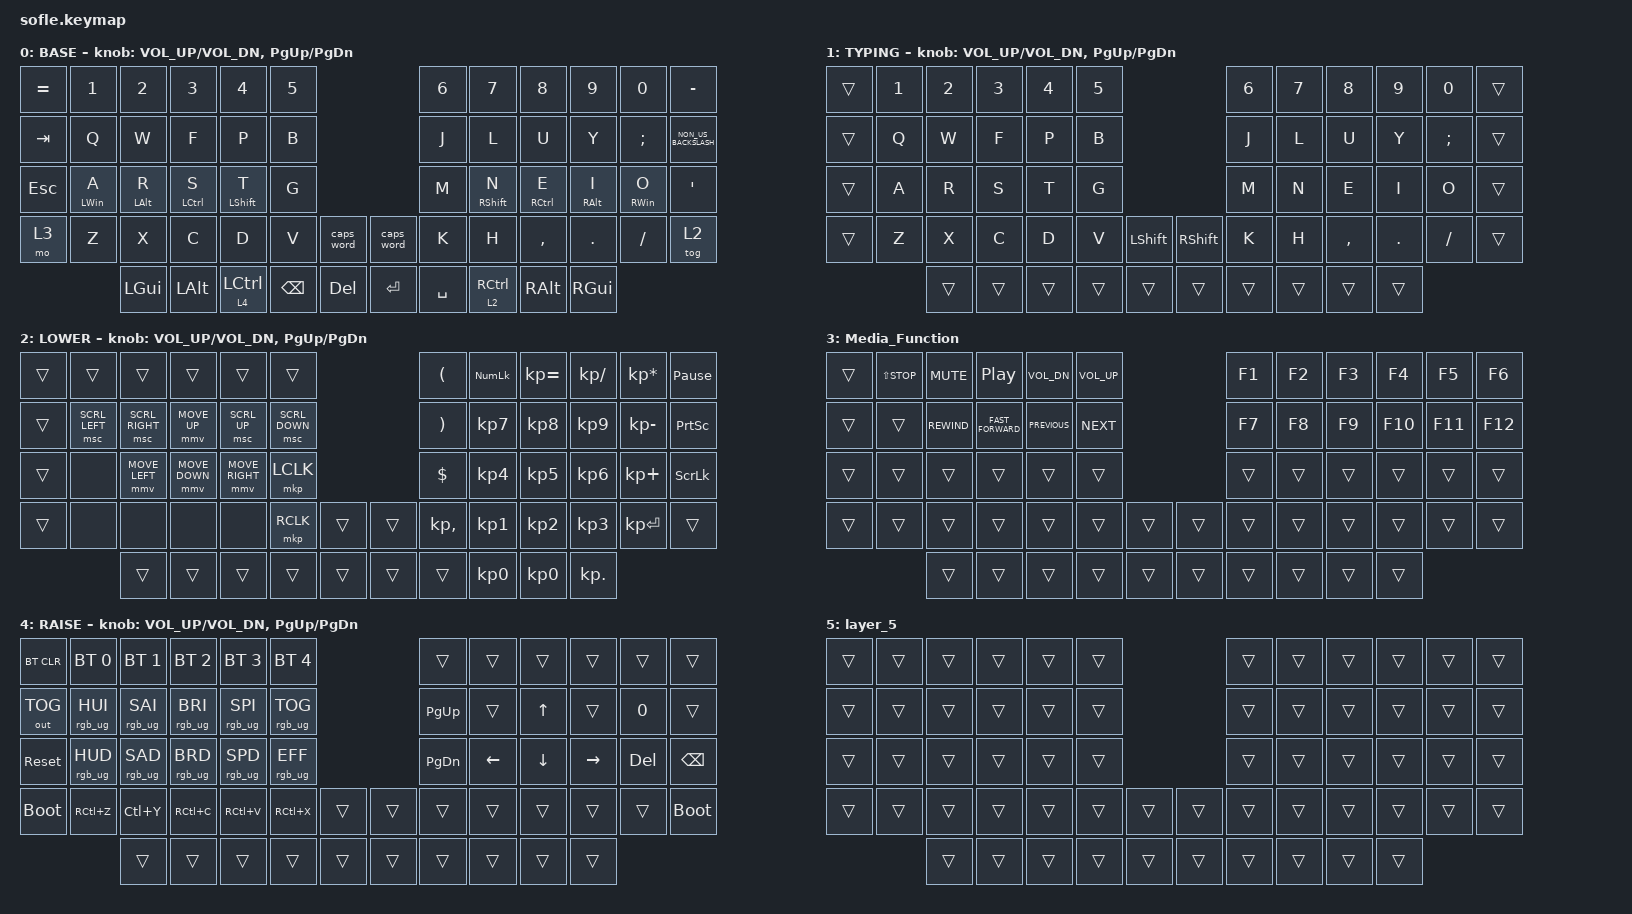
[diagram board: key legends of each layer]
/*
 * Copyright (c) 2020 The ZMK Contributors
 *
 * SPDX-License-Identifier: MIT
 */

#include <input/processors.dtsi>
#include <behaviors.dtsi>
#include <dt-bindings/zmk/bt.h>
#include <dt-bindings/zmk/keys.h>
#include <dt-bindings/zmk/outputs.h>
#include <dt-bindings/zmk/pointing.h>
#include <dt-bindings/zmk/rgb.h>

#define BASE 0
#define LOWER 2
#define RAISE 3
#define ADJUST 4
#define TYPING 1

&mt {
    bindings = <&kp>, <&kp>;

    tapping-term-ms = <220>;
    flavor = "tap-preferred";
};

/ {
    // Activate ADJUST layer by pressing raise and lower

    conditional_layers { compatible = "zmk,conditional-layers"; };

    combos {
        compatible = "zmk,combos";

        CAPSLOCKV1 {
            bindings = <&kp CAPSLOCK>;
            key-positions = <42 43>;
            layers = <0>;
        };

        TypingLayer {
            bindings = <&tog 1>;
            key-positions = <50 1>;
            layers = <0 1>;
        };
    };

    behaviors {
        mod_tap_layer: mod_tap_layer {
            compatible = "zmk,behavior-hold-tap";
            label = "MOD_TAP_LAYER";
            bindings = <&mo>, <&kp>;

            #binding-cells = <2>;
            tapping-term-ms = <220>;
        };
    };

    keymap {
        compatible = "zmk,keymap";

        BASE {
            // ------------------------------------------------------------------------------------------------------------
            // |   `   |  1  |  2  |  3   |  4   |  5   |                   |  6   |  7    |  8    |  9   |   0   |       |
            // |  ESC  |  Q  |  W  |  E   |  R   |  T   |                   |  Y   |  U    |  I    |  O   |   P   | BKSPC |
            // |  TAB  |  A  |  S  |  D   |  F   |  G   |                   |  H   |  J    |  K    |  L   |   ;   |   '   |
            // | SHIFT |  Z  |  X  |  C   |  V   |  B   |  MUTE  |  |       |  N   |  M    |  ,    |  .   |   /   | SHIFT |
            //               | GUI | ALT  | CTRL | LOWER|  ENTER |  | SPACE | RAISE| CTRL  | ALT   | GUI  |

            bindings = <
&kp EQUAL   &kp N1      &kp N2      &kp N3       &kp N4                  &kp N5                                   &kp N6     &kp N7                  &kp N8       &kp N9           &kp N0         &kp MINUS
&kp TAB     &kp Q       &kp W       &kp F        &kp P                   &kp B                                    &kp J      &kp L                   &kp U        &kp Y            &kp SEMICOLON  &kp NON_US_BACKSLASH
&kp ESCAPE  &mt LWIN A  &mt LALT R  &mt LCTRL S  &mt LSHFT T             &kp G                                    &kp M      &mt RSHFT N             &mt RCTRL E  &mt RIGHT_ALT I  &mt RWIN O     &kp SQT
&mo 3       &kp Z       &kp X       &kp C        &kp D                   &kp V          &caps_word    &caps_word  &kp K      &kp H                   &kp COMMA    &kp DOT          &kp FSLH       &tog 2
                        &kp LGUI    &kp LALT     &mod_tap_layer 4 LCTRL  &kp BACKSPACE  &kp DELETE    &kp ENTER   &kp SPACE  &mod_tap_layer 2 RCTRL  &kp RALT     &kp RGUI
            >;

            sensor-bindings = <&inc_dec_kp C_VOL_UP C_VOL_DN &inc_dec_kp PG_UP PG_DN>;
            label = "BASE";
        };

        TYPING {
            bindings = <
&trans  &kp N1  &kp N2  &kp N3  &kp N4  &kp N5                          &kp N6  &kp N7  &kp N8     &kp N9   &kp N0         &trans
&trans  &kp Q   &kp W   &kp F   &kp P   &kp B                           &kp J   &kp L   &kp U      &kp Y    &kp SEMICOLON  &trans
&trans  &kp A   &kp R   &kp S   &kp T   &kp G                           &kp M   &kp N   &kp E      &kp I    &kp O          &trans
&trans  &kp Z   &kp X   &kp C   &kp D   &kp V   &kp LSHFT    &kp RSHFT  &kp K   &kp H   &kp COMMA  &kp DOT  &kp FSLH       &trans
                &trans  &trans  &trans  &trans  &trans       &trans     &trans  &trans  &trans     &trans
            >;

            sensor-bindings =
                <&inc_dec_kp C_VOL_UP C_VOL_DN>,
                <&inc_dec_kp PG_UP PG_DN>;
        };

        LOWER {
            // TODO: Some binds are waiting for shifted keycode support.
            // ------------------------------------------------------------------------------------------------------------
            // |       |  F1 |  F2 |  F3  |  F4  |  F5  |                   |  F6  |  F7   |  F8   |  F9  |  F10  |  F11  |
            // |   `   |  1  |  2  |  3   |  4   |  5   |                   |  6   |  7    |  8    |  9   |   0   |  F12  |
            // |       |  !  |  @  |  #   |  $   |  %   |                   |  ^   |  &    |  *    |  (   |   )   |   |   |
            // |       |  =  |  -  |  +   |  {   |  }   |        |  |       |  [   |  ]    |  ;    |  :   |   \   |       |
            //               |     |      |      |      |        |  |       |      |       |       |      |

            bindings = <
&trans  &trans          &trans           &trans          &trans           &trans                            &kp LEFT_PARENTHESIS   &kp KP_NUMLOCK   &kp KP_EQUAL     &kp KP_SLASH     &kp KP_ASTERISK  &kp PAUSE_BREAK
&trans  &msc SCRL_LEFT  &msc SCRL_RIGHT  &mmv MOVE_UP    &msc SCRL_UP     &msc SCRL_DOWN                    &kp RIGHT_PARENTHESIS  &kp KP_NUMBER_7  &kp KP_NUMBER_8  &kp KP_NUMBER_9  &kp KP_MINUS     &kp PRINTSCREEN
&trans  &none           &mmv MOVE_LEFT   &mmv MOVE_DOWN  &mmv MOVE_RIGHT  &mkp LCLK                         &kp DOLLAR             &kp KP_NUMBER_4  &kp KP_NUMBER_5  &kp KP_NUMBER_6  &kp KP_PLUS      &kp SCROLLLOCK
&trans  &none           &none            &none           &none            &mkp RCLK       &trans    &trans  &kp KP_COMMA           &kp KP_NUMBER_1  &kp KP_NUMBER_2  &kp KP_NUMBER_3  &kp KP_ENTER     &trans
                        &trans           &trans          &trans           &trans          &trans    &trans  &trans                 &kp KP_N0        &kp KP_NUMBER_0  &kp KP_DOT
            >;

            sensor-bindings = <&inc_dec_kp C_VOL_UP C_VOL_DN &inc_dec_kp PG_UP PG_DN>;
        };

        Media_Function {
            bindings = <
&trans  &kp LS(C_STOP)  &kp C_MUTE    &kp C_PP            &kp C_VOL_DN    &kp C_VOL_UP                    &kp F1  &kp F2  &kp F3  &kp F4   &kp F5   &kp F6
&trans  &trans          &kp C_REWIND  &kp C_FAST_FORWARD  &kp C_PREVIOUS  &kp C_NEXT                      &kp F7  &kp F8  &kp F9  &kp F10  &kp F11  &kp F12
&trans  &trans          &trans        &trans              &trans          &trans                          &trans  &trans  &trans  &trans   &trans   &trans
&trans  &trans          &trans        &trans              &trans          &trans        &trans    &trans  &trans  &trans  &trans  &trans   &trans   &trans
                        &trans        &trans              &trans          &trans        &trans    &trans  &trans  &trans  &trans  &trans
            >;
        };

        RAISE {
            // ------------------------------------------------------------------------------------------------------------
            // | BTCLR | BT1  | BT2  |  BT3  |  BT4  |  BT5 |                |      |      |       |      |       |       |
            // |       | INS  | PSCR | GUI   |       |      |                | PGUP |      |   ^   |      |       |       |
            // |       | ALT  | CTRL | SHIFT |       | CAPS |                | PGDN |   <- |   v   |  ->  |  DEL  | BKSPC |
            // |       | UNDO | CUT  | COPY  | PASTE |      |      |  |      |      |      |       |      |       |       |
            //                |      |       |       |      |      |  |      |      |      |       |      |

            bindings = <
&bt BT_CLR    &bt BT_SEL 0     &bt BT_SEL 1     &bt BT_SEL 2     &bt BT_SEL 3     &bt BT_SEL 4                       &trans     &trans    &trans    &trans     &trans   &trans
&out OUT_TOG  &rgb_ug RGB_HUI  &rgb_ug RGB_SAI  &rgb_ug RGB_BRI  &rgb_ug RGB_SPI  &rgb_ug RGB_TOG                    &kp PG_UP  &trans    &kp UP    &trans     &kp N0   &trans
&sys_reset    &rgb_ug RGB_HUD  &rgb_ug RGB_SAD  &rgb_ug RGB_BRD  &rgb_ug RGB_SPD  &rgb_ug RGB_EFF                    &kp PG_DN  &kp LEFT  &kp DOWN  &kp RIGHT  &kp DEL  &kp BSPC
&bootloader   &kp RC(Z)        &kp LC(Y)        &kp RC(C)        &kp RC(V)        &kp RC(X)        &trans    &trans  &trans     &trans    &trans    &trans     &trans   &bootloader
                               &trans           &trans           &trans           &trans           &trans    &trans  &trans     &trans    &trans    &trans
            >;

            sensor-bindings = <&inc_dec_kp C_VOL_UP C_VOL_DN &inc_dec_kp PG_UP PG_DN>;
        };

        layer_5 {
            bindings = <
&trans  &trans  &trans  &trans  &trans  &trans                    &trans  &trans  &trans  &trans  &trans  &trans
&trans  &trans  &trans  &trans  &trans  &trans                    &trans  &trans  &trans  &trans  &trans  &trans
&trans  &trans  &trans  &trans  &trans  &trans                    &trans  &trans  &trans  &trans  &trans  &trans
&trans  &trans  &trans  &trans  &trans  &trans  &trans    &trans  &trans  &trans  &trans  &trans  &trans  &trans
                &trans  &trans  &trans  &trans  &trans    &trans  &trans  &trans  &trans  &trans
            >;
        };
    };
};
